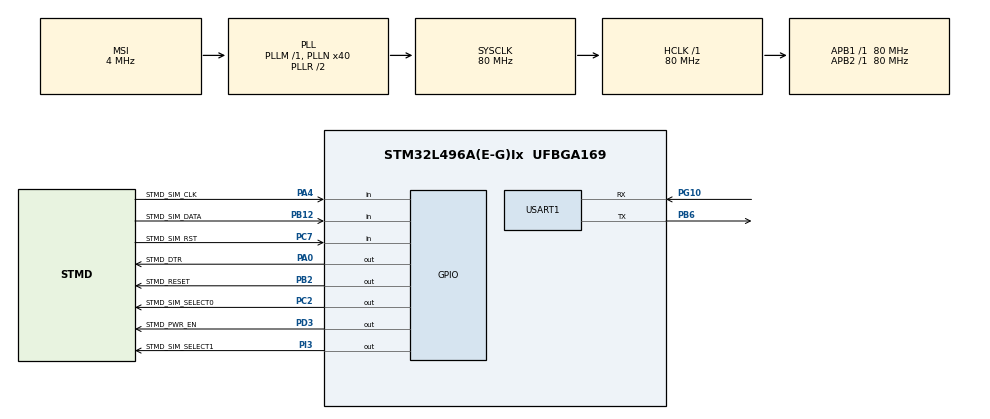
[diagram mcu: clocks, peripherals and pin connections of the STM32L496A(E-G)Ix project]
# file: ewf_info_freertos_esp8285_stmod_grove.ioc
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FREERTOS.Tasks01=defaultTask,24,128,StartDefaultTask,Default,NULL,Dynamic,NULL,NULL;myTask,24,512,StartTask,Default,NULL,Static,myTaskBuffer,myTaskControlBlock
FREERTOS.configUSE_NEWLIB_REENTRANT=1
Mcu.Family=STM32L4
Mcu.Name=STM32L496A(E-G)Ix
Mcu.Package=UFBGA169
NVIC.PriorityGroup=NVIC_PRIORITYGROUP_4
NVIC.TIM6_DAC_IRQn=true\:15\:0\:false\:false\:true\:false\:false\:true\:true
NVIC.TimeBase=TIM6_DAC_IRQn
NVIC.TimeBaseIP=TIM6
NVIC.USART1_IRQn=true\:5\:0\:false\:false\:true\:true\:true\:true\:true
PA0.GPIO_Label=STMD_DTR
PA0.Signal=GPIO_Output
PA13\ (JTMS/SWDIO).Signal=SYS_JTMS-SWDIO
PA14\ (JTCK/SWCLK).Signal=SYS_JTCK-SWCLK
PA4.GPIO_Label=STMD_SIM_CLK
PA4.Signal=GPIO_Input
PB12.GPIO_Label=STMD_SIM_DATA
PB12.Signal=GPIO_Input
PB2.GPIO_Label=STMD_RESET
PB2.PinState=GPIO_PIN_SET
PB2.Signal=GPIO_Output
PB3\ (JTDO/TRACESWO).Signal=SYS_JTDO-SWO
PB6.Mode=Asynchronous
PB6.Signal=USART1_TX
PC2.GPIO_Label=STMD_SIM_SELECT0
PC2.GPIO_PuPd=GPIO_PULLDOWN
PC2.Signal=GPIO_Output
PC7.GPIO_Label=STMD_SIM_RST
PC7.Signal=GPIO_Input
PD3.GPIO_Label=STMD_PWR_EN
PD3.GPIO_PuPd=GPIO_NOPULL
PD3.PinState=GPIO_PIN_SET
PD3.Signal=GPIO_Output
PG10.Mode=Asynchronous
PG10.Signal=USART1_RX
PG11.Signal=USART1_CTS
PG12.Signal=USART1_RTS
PI3.GPIO_Label=STMD_SIM_SELECT1
PI3.GPIO_PuPd=GPIO_PULLDOWN
PI3.Signal=GPIO_Output
ProjectManager.HeapSize=0x200
ProjectManager.StackSize=0x400
ProjectManager.TargetToolchain=STM32CubeIDE
RCC.ADCFreq_Value=40000000
RCC.AHBFreq_Value=80000000
RCC.APB1Freq_Value=80000000
RCC.APB1TimFreq_Value=80000000
RCC.APB2Freq_Value=80000000
RCC.APB2TimFreq_Value=80000000
RCC.CortexFreq_Value=80000000
RCC.HCLKFreq_Value=80000000
RCC.HSE_VALUE=8000000
RCC.HSI48_VALUE=48000000
RCC.HSI_VALUE=16000000
RCC.LSE_VALUE=32768
RCC.MSI_VALUE=4000000
RCC.PLLN=40
RCC.PLLSAI1N=20
RCC.SYSCLKFreq_VALUE=80000000
RCC.SYSCLKSource=RCC_SYSCLKSOURCE_PLLCLK
RCC.USBFreq_Value=40000000
RCC.VCOOutputFreq_Value=160000000
USART1.VirtualMode-Asynchronous=VM_ASYNC
VP_FREERTOS_VS_CMSIS_V2.Mode=CMSIS_V2
VP_SYS_VS_tim6.Mode=TIM6
board=STM32L496G-DISCO

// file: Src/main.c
/* USER CODE BEGIN Header */
/**
  ******************************************************************************
  * @file           : main.c
  * @brief          : Main program body
  ******************************************************************************
  * @attention
  *
  * Copyright (c) 2022 STMicroelectronics.
  * All rights reserved.
  *
  * This software is licensed under terms that can be found in the LICENSE file
  * in the root directory of this software component.
  * If no LICENSE file comes with this software, it is provided AS-IS.
  *
  ******************************************************************************
  */
/* USER CODE END Header */
#include "main.h"
#include "cmsis_os.h"

/* USER CODE BEGIN Includes */

#include <stdio.h>

#include "ewf_lib.c"
#include "ewf_platform_freertos.c"
#include "ewf_allocator.c"
#include "ewf_allocator_memory_pool.c"
#include "ewf_interface.c"
#include "ewf_interface_stm32_uart.c"
#include "ewf_adapter.c"
#include "ewf_adapter_api_control.c"
#include "ewf_adapter_api_info.c"
#include "ewf_adapter_api_tls_basic.c"
#include "ewf_adapter_api_mqtt_basic.c"
#include "ewf_adapter_api_tcp.c"
#include "ewf_adapter_api_udp.c"
#include "ewf_adapter_espressif_esp8285.c"
#include "ewf_example.config.h"

/* USER CODE END Includes */

typedef StaticTask_t osStaticThreadDef_t;
/* USER CODE BEGIN PTD */
#if defined ( __GNUC__) && !defined(__clang__)
/* With GCC, small printf (option LD Linker->Libraries->Small printf
   set to 'Yes') calls __io_putchar() */
#define PUTCHAR_PROTOTYPE int __io_putchar(int ch)
#else
#define PUTCHAR_PROTOTYPE int fputc(int ch, FILE *f)
#endif /* __GNUC__ */

/* USER CODE END PTD */

UART_HandleTypeDef huart1;

/* Definitions for defaultTask */
osThreadId_t defaultTaskHandle;
const osThreadAttr_t defaultTask_attributes = {
  .name = "defaultTask",
  .stack_size = 128 * 4,
  .priority = (osPriority_t) osPriorityNormal,
};
/* Definitions for myTask */
osThreadId_t myTaskHandle;
uint32_t myTaskBuffer[ 512 ];
osStaticThreadDef_t myTaskControlBlock;
const osThreadAttr_t myTask_attributes = {
  .name = "myTask",
  .cb_mem = &myTaskControlBlock,
  .cb_size = sizeof(myTaskControlBlock),
  .stack_mem = &myTaskBuffer[0],
  .stack_size = sizeof(myTaskBuffer),
  .priority = (osPriority_t) osPriorityNormal,
};

void SystemClock_Config(void);
static void MX_GPIO_Init(void);
static void MX_USART1_UART_Init(void);
void StartDefaultTask(void *argument);
void StartTask(void *argument);

/* USER CODE BEGIN 0 */

/**
* @brief  Retargets the C library printf function to the USART.
* @param  None
* @retval None
*/
PUTCHAR_PROTOTYPE
{
    /* Place your implementation of fputc here */
    /* e.g. write a character to the USART1 and Loop until the end of transmission */
    ITM_SendChar(ch);
    return ch;
}

/* USER CODE END 0 */

int main(void)
{

  /* MCU Configuration--------------------------------------------------------*/

  /* Reset of all peripherals, Initializes the Flash interface and the Systick. */
  HAL_Init();

  /* Configure the system clock */
  SystemClock_Config();

  /* Initialize all configured peripherals */
  MX_GPIO_Init();

  /* Init scheduler */
  osKernelInitialize();

  /* Create the thread(s) */
  /* creation of defaultTask */
  defaultTaskHandle = osThreadNew(StartDefaultTask, NULL, &defaultTask_attributes);

  /* creation of myTask */
  myTaskHandle = osThreadNew(StartTask, NULL, &myTask_attributes);

  /* Start scheduler */
  osKernelStart();

  /* We should never get here as control is now taken by the scheduler */
  /* Infinite loop */
  while (1)
  {

  }
}

void SystemClock_Config(void)
{
  RCC_OscInitTypeDef RCC_OscInitStruct = {0};
  RCC_ClkInitTypeDef RCC_ClkInitStruct = {0};

  /** Configure the main internal regulator output voltage
  */
  if (HAL_PWREx_ControlVoltageScaling(PWR_REGULATOR_VOLTAGE_SCALE1) != HAL_OK)
  {
    Error_Handler();
  }

  /** Initializes the RCC Oscillators according to the specified parameters
  * in the RCC_OscInitTypeDef structure.
  */
  RCC_OscInitStruct.OscillatorType = RCC_OSCILLATORTYPE_MSI;
  RCC_OscInitStruct.MSIState = RCC_MSI_ON;
  RCC_OscInitStruct.MSICalibrationValue = 0;
  RCC_OscInitStruct.MSIClockRange = RCC_MSIRANGE_6;
  RCC_OscInitStruct.PLL.PLLState = RCC_PLL_ON;
  RCC_OscInitStruct.PLL.PLLSource = RCC_PLLSOURCE_MSI;
  RCC_OscInitStruct.PLL.PLLM = 1;
  RCC_OscInitStruct.PLL.PLLN = 40;
  RCC_OscInitStruct.PLL.PLLP = RCC_PLLP_DIV2;
  RCC_OscInitStruct.PLL.PLLQ = RCC_PLLQ_DIV2;
  RCC_OscInitStruct.PLL.PLLR = RCC_PLLR_DIV2;
  if (HAL_RCC_OscConfig(&RCC_OscInitStruct) != HAL_OK)
  {
    Error_Handler();
  }

  /** Initializes the CPU, AHB and APB buses clocks
  */
  RCC_ClkInitStruct.ClockType = RCC_CLOCKTYPE_HCLK|RCC_CLOCKTYPE_SYSCLK
                              |RCC_CLOCKTYPE_PCLK1|RCC_CLOCKTYPE_PCLK2;
  RCC_ClkInitStruct.SYSCLKSource = RCC_SYSCLKSOURCE_PLLCLK;
  RCC_ClkInitStruct.AHBCLKDivider = RCC_SYSCLK_DIV1;
  RCC_ClkInitStruct.APB1CLKDivider = RCC_HCLK_DIV1;
  RCC_ClkInitStruct.APB2CLKDivider = RCC_HCLK_DIV1;

  if (HAL_RCC_ClockConfig(&RCC_ClkInitStruct, FLASH_LATENCY_4) != HAL_OK)
  {
    Error_Handler();
  }
}

static void MX_USART1_UART_Init(void)
{

  huart1.Instance = USART1;
  huart1.Init.BaudRate = 115200;
  huart1.Init.WordLength = UART_WORDLENGTH_8B;
  huart1.Init.StopBits = UART_STOPBITS_1;
  huart1.Init.Parity = UART_PARITY_NONE;
  huart1.Init.Mode = UART_MODE_TX_RX;
  huart1.Init.HwFlowCtl = UART_HWCONTROL_NONE;
  huart1.Init.OverSampling = UART_OVERSAMPLING_16;
  huart1.Init.OneBitSampling = UART_ONE_BIT_SAMPLE_DISABLE;
  huart1.AdvancedInit.AdvFeatureInit = UART_ADVFEATURE_NO_INIT;
  if (HAL_UART_Init(&huart1) != HAL_OK)
  {
    Error_Handler();
  }

}

static void MX_GPIO_Init(void)
{
  GPIO_InitTypeDef GPIO_InitStruct = {0};

  /* GPIO Ports Clock Enable */
  __HAL_RCC_GPIOB_CLK_ENABLE();
  __HAL_RCC_GPIOA_CLK_ENABLE();
  __HAL_RCC_GPIOI_CLK_ENABLE();
  __HAL_RCC_GPIOG_CLK_ENABLE();
  HAL_PWREx_EnableVddIO2();
  __HAL_RCC_GPIOD_CLK_ENABLE();
  __HAL_RCC_GPIOC_CLK_ENABLE();

  /*Configure GPIO pin Output Level */
  HAL_GPIO_WritePin(STMD_SIM_SELECT1_GPIO_Port, STMD_SIM_SELECT1_Pin, GPIO_PIN_RESET);

  /*Configure GPIO pin Output Level */
  HAL_GPIO_WritePin(STMD_PWR_EN_GPIO_Port, STMD_PWR_EN_Pin, GPIO_PIN_SET);

  /*Configure GPIO pin Output Level */
  HAL_GPIO_WritePin(STMD_SIM_SELECT0_GPIO_Port, STMD_SIM_SELECT0_Pin, GPIO_PIN_RESET);

  /*Configure GPIO pin Output Level */
  HAL_GPIO_WritePin(STMD_DTR_GPIO_Port, STMD_DTR_Pin, GPIO_PIN_RESET);

  /*Configure GPIO pin Output Level */
  HAL_GPIO_WritePin(STMD_RESET_GPIO_Port, STMD_RESET_Pin, GPIO_PIN_SET);

  /*Configure GPIO pin : STMD_SIM_SELECT1_Pin */
  GPIO_InitStruct.Pin = STMD_SIM_SELECT1_Pin;
  GPIO_InitStruct.Mode = GPIO_MODE_OUTPUT_PP;
  GPIO_InitStruct.Pull = GPIO_PULLDOWN;
  GPIO_InitStruct.Speed = GPIO_SPEED_FREQ_LOW;
  HAL_GPIO_Init(STMD_SIM_SELECT1_GPIO_Port, &GPIO_InitStruct);

  /*Configure GPIO pin : STMD_PWR_EN_Pin */
  GPIO_InitStruct.Pin = STMD_PWR_EN_Pin;
  GPIO_InitStruct.Mode = GPIO_MODE_OUTPUT_PP;
  GPIO_InitStruct.Pull = GPIO_NOPULL;
  GPIO_InitStruct.Speed = GPIO_SPEED_FREQ_LOW;
  HAL_GPIO_Init(STMD_PWR_EN_GPIO_Port, &GPIO_InitStruct);

  /*Configure GPIO pin : STMD_SIM_RST_Pin */
  GPIO_InitStruct.Pin = STMD_SIM_RST_Pin;
  GPIO_InitStruct.Mode = GPIO_MODE_INPUT;
  GPIO_InitStruct.Pull = GPIO_NOPULL;
  HAL_GPIO_Init(STMD_SIM_RST_GPIO_Port, &GPIO_InitStruct);

  /*Configure GPIO pin : STMD_SIM_SELECT0_Pin */
  GPIO_InitStruct.Pin = STMD_SIM_SELECT0_Pin;
  GPIO_InitStruct.Mode = GPIO_MODE_OUTPUT_PP;
  GPIO_InitStruct.Pull = GPIO_PULLDOWN;
  GPIO_InitStruct.Speed = GPIO_SPEED_FREQ_LOW;
  HAL_GPIO_Init(STMD_SIM_SELECT0_GPIO_Port, &GPIO_InitStruct);

  /*Configure GPIO pin : STMD_DTR_Pin */
  GPIO_InitStruct.Pin = STMD_DTR_Pin;
  GPIO_InitStruct.Mode = GPIO_MODE_OUTPUT_PP;
  GPIO_InitStruct.Pull = GPIO_NOPULL;
  GPIO_InitStruct.Speed = GPIO_SPEED_FREQ_LOW;
  HAL_GPIO_Init(STMD_DTR_GPIO_Port, &GPIO_InitStruct);

  /*Configure GPIO pin : STMD_SIM_CLK_Pin */
  GPIO_InitStruct.Pin = STMD_SIM_CLK_Pin;
  GPIO_InitStruct.Mode = GPIO_MODE_INPUT;
  GPIO_InitStruct.Pull = GPIO_NOPULL;
  HAL_GPIO_Init(STMD_SIM_CLK_GPIO_Port, &GPIO_InitStruct);

  /*Configure GPIO pin : STMD_RESET_Pin */
  GPIO_InitStruct.Pin = STMD_RESET_Pin;
  GPIO_InitStruct.Mode = GPIO_MODE_OUTPUT_PP;
  GPIO_InitStruct.Pull = GPIO_NOPULL;
  GPIO_InitStruct.Speed = GPIO_SPEED_FREQ_LOW;
  HAL_GPIO_Init(STMD_RESET_GPIO_Port, &GPIO_InitStruct);

  /*Configure GPIO pin : STMD_SIM_DATA_Pin */
  GPIO_InitStruct.Pin = STMD_SIM_DATA_Pin;
  GPIO_InitStruct.Mode = GPIO_MODE_INPUT;
  GPIO_InitStruct.Pull = GPIO_NOPULL;
  HAL_GPIO_Init(STMD_SIM_DATA_GPIO_Port, &GPIO_InitStruct);

}

void StartDefaultTask(void *argument)
{
  for(;;)
  {
    osDelay(1);
  }
}

void StartTask(void *argument)
{
  /* USER CODE BEGIN StartTask */
	ewf_result result;

	ewf_allocator* message_allocator_ptr = NULL;
	ewf_interface* interface_ptr = NULL;
	ewf_adapter* adapter_ptr = NULL;

    EWF_ALLOCATOR_MEMORY_POOL_STATIC_DECLARE(message_allocator_ptr, message_allocator,
        EWF_CONFIG_ALLOCATOR_BLOCK_COUNT,
        EWF_CONFIG_ALLOCATOR_BLOCK_SIZE);
    EWF_INTERFACE_STM32_UART_STATIC_DECLARE(interface_ptr, stm32_uart_port, &huart1);
    EWF_ADAPTER_ESPRESSIF_ESP8285_STATIC_DECLARE(adapter_ptr, esp8285, message_allocator_ptr, NULL, interface_ptr);

    // Initialize the port
    MX_USART1_UART_Init();

	// Start the adapter
	if (ewf_result_failed(result = ewf_adapter_start(adapter_ptr)))
	{
		EWF_LOG_ERROR("Failed to start the adapter, ewf_result %d.\n", result);
		exit(result);
	}

	/* Run the adapter tests.  */
	if (ewf_result_failed(result = ewf_adapter_info(adapter_ptr)))
	{
		EWF_LOG_ERROR("Failed to run the adapter test, ewf_result %d.\n", result);
	}

	EWF_LOG("\nDone!\n");

	/* Stay here forever.  */
	while (1)
	{
		EWF_LOG(".");
		vTaskDelay(pdMS_TO_TICKS(1000UL));
	}
  /* USER CODE END StartTask */
}

void HAL_TIM_PeriodElapsedCallback(TIM_HandleTypeDef *htim)
{
  if (htim->Instance == TIM6) {
    HAL_IncTick();
  }
}

void Error_Handler(void)
{
  __disable_irq();
  while (1)
  {
  }
}
